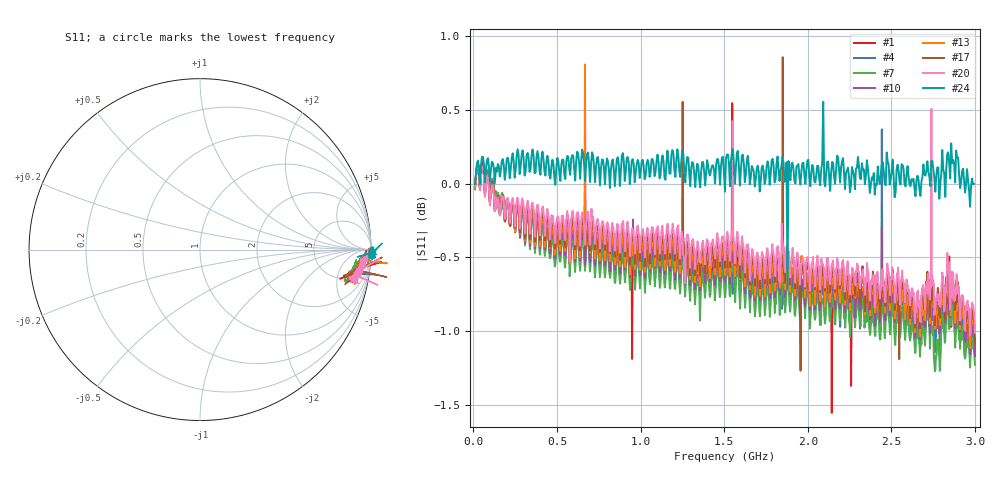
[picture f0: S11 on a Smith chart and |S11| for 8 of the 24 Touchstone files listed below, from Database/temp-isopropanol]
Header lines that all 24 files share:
# HZ S RI R 50
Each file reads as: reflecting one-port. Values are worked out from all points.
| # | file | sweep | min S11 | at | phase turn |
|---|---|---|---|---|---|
| 1 | 0.s1p | 10 MHz to 3 GHz | -1.6 dB | 2.144 GHz | -9 deg |
| 2 | 1.s1p | 10 MHz to 3 GHz | -2.6 dB | 2.443 GHz | -10 deg |
| 3 | 2.s1p | 10 MHz to 3 GHz | -2.0 dB | 964.2 MHz | -10 deg |
| 4 | 3.s1p | 10 MHz to 3 GHz | -1.2 dB | 2.97 GHz | -10 deg |
| 5 | 4.s1p | 10 MHz to 3 GHz | -2.2 dB | 2.745 GHz | -10 deg |
| 6 | 5.s1p | 10 MHz to 3 GHz | -1.4 dB | 1.966 GHz | -9 deg |
| 7 | 6.s1p | 10 MHz to 3 GHz | -1.3 dB | 2.76 GHz | -10 deg |
| 8 | 7.s1p | 10 MHz to 3 GHz | -1.3 dB | 2.97 GHz | -10 deg |
| 9 | 8.s1p | 10 MHz to 3 GHz | -1.5 dB | 2.742 GHz | -9 deg |
| 10 | -1.s1p | 10 MHz to 3 GHz | -1.2 dB | 3 GHz | -10 deg |
| 11 | -2.s1p | 10 MHz to 3 GHz | -1.4 dB | 762.7 MHz | -9 deg |
| 12 | -3.s1p | 10 MHz to 3 GHz | -1.2 dB | 2.76 GHz | -10 deg |
| 13 | -4.s1p | 10 MHz to 3 GHz | -1.1 dB | 2.97 GHz | -10 deg |
| 14 | -5.s1p | 10 MHz to 3 GHz | -1.1 dB | 2.671 GHz | -10 deg |
| 15 | -6.s1p | 10 MHz to 3 GHz | -1.1 dB | 2.97 GHz | -10 deg |
| 16 | -7.s1p | 10 MHz to 3 GHz | -1.1 dB | 3 GHz | -10 deg |
| 17 | -8.s1p | 10 MHz to 3 GHz | -1.3 dB | 1.957 GHz | -10 deg |
| 18 | -9.s1p | 10 MHz to 3 GHz | -1.3 dB | 946.4 MHz | -10 deg |
| 19 | -10.s1p | 10 MHz to 3 GHz | -1.3 dB | 356.7 MHz | -10 deg |
| 20 | -11.s1p | 10 MHz to 3 GHz | -1.0 dB | 2.97 GHz | -10 deg |
| 21 | -12.s1p | 10 MHz to 3 GHz | -1.5 dB | 949.4 MHz | -10 deg |
| 22 | -13.s1p | 10 MHz to 3 GHz | -1.0 dB | 2.97 GHz | -10 deg |
| 23 | -14.s1p | 10 MHz to 3 GHz | -0.9 dB | 2.97 GHz | -10 deg |
| 24 | test.s1p | 10 MHz to 2.994 GHz | -0.7 dB | 1.879 GHz | -1 deg |
